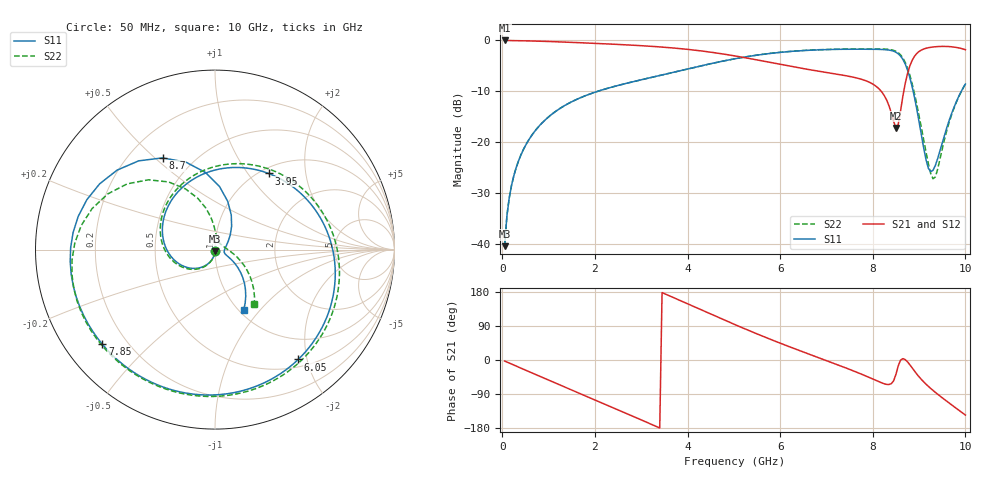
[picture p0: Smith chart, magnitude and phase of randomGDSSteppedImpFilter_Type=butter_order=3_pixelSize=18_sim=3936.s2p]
! freq	dB(S11)	phase(S11)	dB(S12)	phase(S12)
!  dB(S21)	phase(S21)	dB(S22)	phase(S22)
!S-par simulation data
#  GHz  S  DB  R 50
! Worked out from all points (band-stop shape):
!   200 points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, 50 MHz to 10 GHz, reference 50 ohm
!   highest |S21| = -0.01 dB at 50 MHz (marker M1); lowest = -17.1 dB at 8.5 GHz (marker M2)
!   |S21| within 3 dB of the highest: start of sweep to 5.002 GHz; 8.91 GHz to end of sweep
!   lowest |S11| = -40.3 dB at 50 MHz (marker M3), VSWR 1.02, Z = 50 - j0.96 ohm
!   |S11| at or under -10 dB: start of sweep to 2.052 GHz; 8.873 GHz to 9.911 GHz (1.038 GHz wide, 11.1 % of centre)
!   |S22| runs from -40.3 to -1.7 dB; largest |S21 - S12| = 0
!   S11 on the Smith chart (normalised r, x): 50 MHz: 1.00, -0.02; 3.95 GHz: 1.09, +1.26; 6.05 GHz: 0.62, -1.85; 7.85 GHz: 0.11, -0.36; 8.7 GHz: 0.34, +0.53; 10 GHz: 1.05, -0.82
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0.05  -40.34 -92.2  -0.01 -2.7  -0.01 -2.7  -40.34 -92.0
0.2  -28.41 -100.9  -0.02 -10.7  -0.02 -10.7  -28.41 -100.3
0.5  -20.62 -117.8  -0.08 -26.7  -0.08 -26.7  -20.61 -116.4
1.15  -13.92 -153.4  -0.26 -61.0  -0.26 -61.0  -13.92 -150.0
1.75  -11.00 174.2  -0.48 -92.4  -0.48 -92.4  -11.00 179.4
2.65  -8.48 125.7  -0.85 -139.5  -0.85 -139.5  -8.48 133.6
3.4  -6.87 84.9  -1.27 -179.4  -1.27 -179.4  -6.87 94.5
3.95  -5.70 54.9  -1.70 150.9  -1.70 150.9  -5.71 65.2
4.5  -4.56 25.3  -2.30 121.2  -2.30 121.2  -4.56 35.7
5.05  -3.55 -3.6  -3.08 92.0  -3.08 92.0  -3.55 6.7
6.05  -2.30 -52.8  -4.78 42.1  -4.78 42.1  -2.28 -42.9
6.7  -1.89 -82.8  -5.84 12.0  -5.84 12.0  -1.87 -72.7
7.3  -1.74 -110.7  -6.73 -15.4  -6.73 -15.4  -1.71 -99.8
7.85  -1.72 -140.0  -7.90 -42.2  -7.90 -42.2  -1.67 -127.4
8.35  -1.89 179.3  -12.80 -64.7  -12.80 -64.7  -1.77 -164.4
8.5  -2.31 158.8  -17.14 -38.1  -17.14 -38.1  -2.14 177.3
8.7  -4.60 119.8  -8.46 1.1  -8.46 1.1  -4.28 143.2
8.95  -13.44 64.8  -2.56 -37.0  -2.56 -37.0  -12.51 102.4
9.15  -23.41 19.8  -1.54 -63.8  -1.54 -63.8  -21.90 85.1
9.3  -25.47 -15.9  -1.28 -80.2  -1.28 -80.2  -27.12 50.5
9.65  -15.67 -38.5  -1.20 -113.6  -1.20 -113.6  -16.05 -24.2
10  -8.55 -64.7  -1.82 -145.2  -1.82 -145.2  -8.55 -54.0
